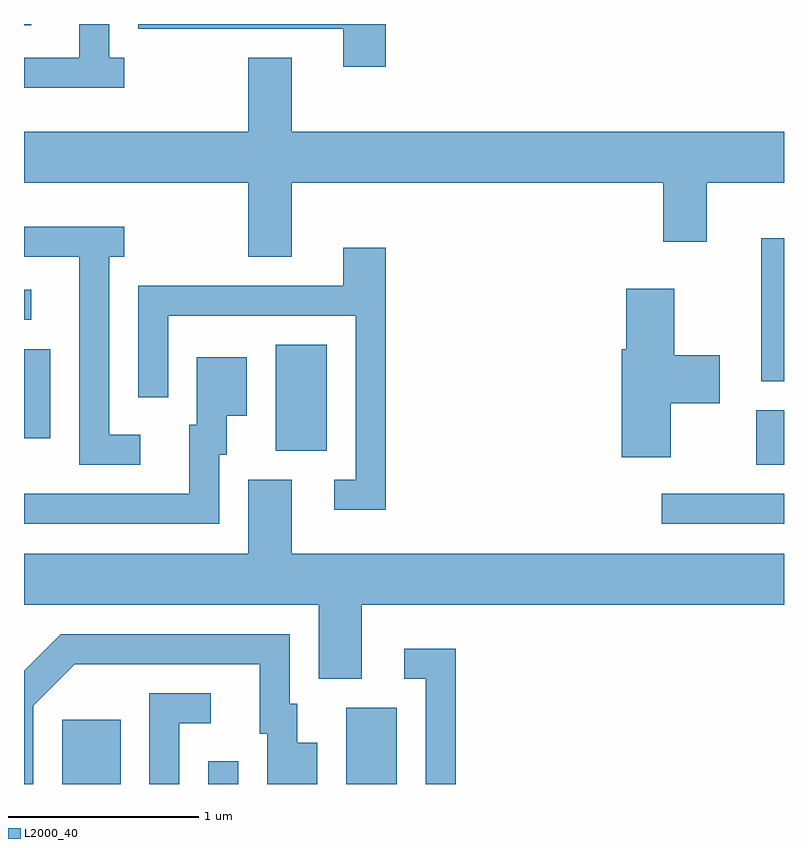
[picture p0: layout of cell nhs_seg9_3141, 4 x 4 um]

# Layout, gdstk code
import gdstk
lib = gdstk.Library(unit=1e-6, precision=1e-09)
def R(c, l, rs):  # rectangles x0, y0, x1, y1
    for r in rs: c.add(gdstk.rectangle(r[:2], r[2:], *l))
def P(c, l, *ps):  # polygons
    for p in ps: c.add(gdstk.Polygon(p, *l))
L2000_40 = (2000, 40)

nhs_seg9_3141 = lib.new_cell('nhs_seg9_3141')
R(nhs_seg9_3141, L2000_40, [(277.811,1986.432,278.119,1986.769), (278.581,1986.432,278.739,1986.553), (279.306,1986.432,279.574,1986.834), (280.968,1987.801,281.611,1987.959), (281.466,1988.111,281.611,1988.399), (278.936,1988.186,279.204,1988.744), (277.611,1988.251,277.749,1988.719), (281.491,1988.551,281.611,1989.304), (277.611,1988.876,277.648,1989.034), (277.611,1990.426,277.648,1990.432)])
P(nhs_seg9_3141, L2000_40, [(278.138,1990.254),(278.059,1990.254),(278.059,1990.432),(277.901,1990.432),(277.901,1990.254),(277.611,1990.254),(277.611,1990.096),(278.138,1990.096)],
  [(279.514,1990.432),(278.211,1990.432),(278.211,1990.406),(279.291,1990.406),(279.291,1990.206),(279.514,1990.206)],
  [(279.019,1989.596),(280.976,1989.596),(280.976,1989.286),(281.204,1989.286),(281.204,1989.596),(281.611,1989.596),(281.611,1989.864),(279.019,1989.864),(279.019,1990.254),(278.791,1990.254),(278.791,1989.864),(277.611,1989.864),(277.611,1989.596),(278.791,1989.596),(278.791,1989.206),(279.019,1989.206)],
  [(278.223,1988.269),(278.059,1988.269),(278.059,1989.206),(278.138,1989.206),(278.138,1989.364),(277.611,1989.364),(277.611,1989.206),(277.901,1989.206),(277.901,1988.111),(278.223,1988.111)],
  [(279.514,1989.254),(279.291,1989.254),(279.291,1989.054),(278.211,1989.054),(278.211,1988.468),(278.369,1988.468),(278.369,1988.896),(279.356,1988.896),(279.356,1988.034),(279.243,1988.034),(279.243,1987.876),(279.514,1987.876)],
  [(281.014,1988.436),(281.274,1988.436),(281.274,1988.689),(281.034,1988.689),(281.034,1989.039),(280.781,1989.039),(280.781,1988.719),(280.756,1988.719),(280.756,1988.151),(281.014,1988.151)],
  [(278.639,1988.166),(278.679,1988.166),(278.679,1988.371),(278.784,1988.371),(278.784,1988.679),(278.521,1988.679),(278.521,1988.324),(278.481,1988.324),(278.481,1987.959),(277.611,1987.959),(277.611,1987.801),(278.639,1987.801)],
  [(279.389,1987.376),(281.611,1987.376),(281.611,1987.644),(279.019,1987.644),(279.019,1988.034),(278.791,1988.034),(278.791,1987.644),(277.611,1987.644),(277.611,1987.376),(279.161,1987.376),(279.161,1986.986),(279.389,1986.986)],
  [(277.659,1986.844),(277.877,1987.061),(278.851,1987.061),(278.851,1986.696),(278.891,1986.696),(278.891,1986.432),(279.154,1986.432),(279.154,1986.649),(279.049,1986.649),(279.049,1986.854),(279.009,1986.854),(279.009,1987.219),(277.804,1987.219),(277.611,1987.027),(277.611,1986.432),(277.659,1986.432)],
  [(279.884,1987.144),(279.613,1987.144),(279.613,1986.986),(279.726,1986.986),(279.726,1986.432),(279.884,1986.432)],
  [(278.429,1986.751),(278.593,1986.751),(278.593,1986.909),(278.271,1986.909),(278.271,1986.432),(278.429,1986.432)])

lib.write_gds('nhs_seg9_3141.gds')
